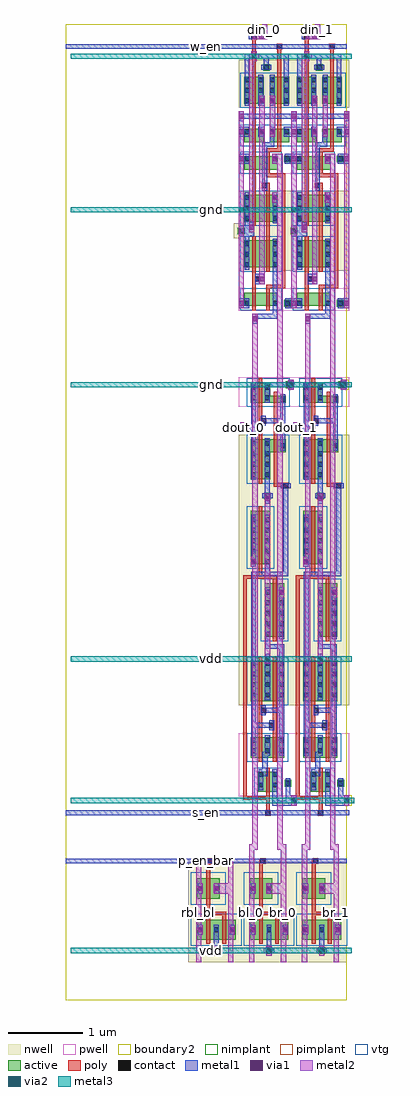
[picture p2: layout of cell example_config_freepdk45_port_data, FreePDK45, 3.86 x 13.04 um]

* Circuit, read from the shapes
.subckt example_config_freepdk45_port_data bl_0 bl_1 br_0 br_1 din_0 din_1 dout_0 dout_1 gnd p_en_bar rbl_bl rbl_br s_en vdd w_en
M1 n1 n2 gnd gnd nfet w=0.18u l=0.05u
M2 n3 din_0 gnd gnd nfet w=0.18u l=0.05u
M3 n2 din_0 gnd gnd nfet w=0.18u l=0.05u
M4 n4 n5 n6 gnd nfet w=0.27u l=0.05u
M5 gnd n7 dout_0 gnd nfet w=0.27u l=0.05u
M6 gnd s_en n4 gnd nfet w=0.27u l=0.05u
M7 bl_0 w_en n1 gnd nfet w=0.18u l=0.05u
M8 br_0 w_en n3 gnd nfet w=0.18u l=0.05u
M9 n5 n6 n4 gnd nfet w=0.27u l=0.05u
M10 n7 n6 gnd gnd nfet w=0.09u l=0.05u
M11 gnd w_en n8 gnd nfet w=0.18u l=0.05u
M12 n9 n10 gnd gnd nfet w=0.18u l=0.05u
M13 n11 din_1 gnd gnd nfet w=0.18u l=0.05u
M14 n10 din_1 gnd gnd nfet w=0.18u l=0.05u
M15 n12 n13 n14 gnd nfet w=0.27u l=0.05u
M16 gnd n15 dout_1 gnd nfet w=0.27u l=0.05u
M17 gnd s_en n12 gnd nfet w=0.27u l=0.05u
M18 bl_1 w_en n9 gnd nfet w=0.18u l=0.05u
M19 br_1 w_en n11 gnd nfet w=0.18u l=0.05u
M20 n13 n14 n12 gnd nfet w=0.27u l=0.05u
M21 n15 n14 gnd gnd nfet w=0.09u l=0.05u
M22 gnd w_en n16 gnd nfet w=0.18u l=0.05u
M23 vdd p_en_bar rbl_bl vdd pfet w=0.27u l=0.05u
M24 rbl_br p_en_bar rbl_bl vdd pfet w=0.27u l=0.05u
M25 rbl_br p_en_bar vdd vdd pfet w=0.27u l=0.05u
M26 n17 n2 vdd vdd pfet w=0.36u l=0.05u
M27 n18 din_0 vdd vdd pfet w=0.36u l=0.05u
M28 n2 din_0 vdd vdd pfet w=0.36u l=0.05u
M29 vdd n5 n6 vdd pfet w=0.54u l=0.05u
M30 n6 s_en bl_0 vdd pfet w=0.72u l=0.05u
M31 vdd n7 dout_0 vdd pfet w=0.54u l=0.05u
M32 vdd p_en_bar bl_0 vdd pfet w=0.27u l=0.05u
M33 br_0 p_en_bar bl_0 vdd pfet w=0.27u l=0.05u
M34 bl_0 n8 n17 vdd pfet w=0.36u l=0.05u
M35 br_0 n8 n18 vdd pfet w=0.36u l=0.05u
M36 n5 n6 vdd vdd pfet w=0.54u l=0.05u
M37 br_0 s_en n5 vdd pfet w=0.72u l=0.05u
M38 n7 n6 vdd vdd pfet w=0.18u l=0.05u
M39 br_0 p_en_bar vdd vdd pfet w=0.27u l=0.05u
M40 vdd w_en n8 vdd pfet w=0.36u l=0.05u
M41 n19 n10 vdd vdd pfet w=0.36u l=0.05u
M42 n20 din_1 vdd vdd pfet w=0.36u l=0.05u
M43 n10 din_1 vdd vdd pfet w=0.36u l=0.05u
M44 vdd n13 n14 vdd pfet w=0.54u l=0.05u
M45 n14 s_en bl_1 vdd pfet w=0.72u l=0.05u
M46 vdd n15 dout_1 vdd pfet w=0.54u l=0.05u
M47 vdd p_en_bar bl_1 vdd pfet w=0.27u l=0.05u
M48 br_1 p_en_bar bl_1 vdd pfet w=0.27u l=0.05u
M49 bl_1 n16 n19 vdd pfet w=0.36u l=0.05u
M50 br_1 n16 n20 vdd pfet w=0.36u l=0.05u
M51 n13 n14 vdd vdd pfet w=0.54u l=0.05u
M52 br_1 s_en n13 vdd pfet w=0.72u l=0.05u
M53 n15 n14 vdd vdd pfet w=0.18u l=0.05u
M54 br_1 p_en_bar vdd vdd pfet w=0.27u l=0.05u
M55 vdd w_en n16 vdd pfet w=0.36u l=0.05u
.ends

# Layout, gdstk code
import gdstk
lib = gdstk.Library(unit=1e-6, precision=5e-10)
def R(c, l, rs):  # rectangles x0, y0, x1, y1
    for r in rs: c.add(gdstk.rectangle(r[:2], r[2:], *l))
def A(c, l, x, y, w, h, nx, ny, dx, dy):  # array of equal rectangles
    R(c, l, [(x+i*dx, y+j*dy, x+i*dx+w, y+j*dy+h) for i in range(nx) for j in range(ny)])
def P(c, l, *ps):  # polygons
    for p in ps: c.add(gdstk.Polygon(p, *l))
active = (1, 0)
pwell = (2, 0)
nwell = (3, 0)
nimplant = (4, 0)
pimplant = (5, 0)
vtg = (6, 0)
poly = (9, 0)
contact = (10, 0)
metal1 = (11, 0)
via1 = (12, 0)
metal2 = (13, 0)
via2 = (14, 0)
metal3 = (15, 0)
boundary2 = (239, 0)

example_config_freepdk45 = lib.new_cell('example_config_freepdk45_contact_11')
R(example_config_freepdk45, active, [(0,0.0225,0.09,0.1125)])
R(example_config_freepdk45, nwell, [(-0.055,-0.0325,0.145,0.1675)])
R(example_config_freepdk45, pimplant, [(0,0.0225,0.09,0.1125)])
R(example_config_freepdk45, contact, [(0.0125,0.035,0.0775,0.1)])
R(example_config_freepdk45, metal1, [(0.0125,0,0.0775,0.135)])
R(example_config_freepdk45, boundary2, [(-0.055,-0.0325,0.145,0.1675)])

c_example_config_freepdk45 = lib.new_cell('example_config_freepdk45_pmos_m1_w0_270_sm1_dm1')
R(c_example_config_freepdk45, active, [(0,0,0.305,0.27)])
R(c_example_config_freepdk45, nwell, [(-0.08,-0.08,0.385,0.35)])
R(c_example_config_freepdk45, pimplant, [(0,0,0.305,0.27)])
R(c_example_config_freepdk45, vtg, [(-0.08,-0.08,0.385,0.35)])
R(c_example_config_freepdk45, poly, [(0.1275,-0.055,0.1775,0.325), (0.1275,-0.055,0.1775,0.325)])
R(c_example_config_freepdk45, metal1, [(0.0125,0.0675,0.0775,0.2025), (0.2275,0.0675,0.2925,0.2025)])
R(c_example_config_freepdk45, boundary2, [(-0.08,-0.08,0.385,0.35)])
c_example_config_freepdk45.add(gdstk.Reference(example_config_freepdk45, (0,0.0675)))
c_example_config_freepdk45.add(gdstk.Reference(example_config_freepdk45, (0.215,0.0675)))
c_example_config_freepdk45.add(gdstk.Label('G', (0.1525,0.135), layer=9, texttype=0))
c_example_config_freepdk45.add(gdstk.Label('S', (0.045,0.135), layer=11, texttype=0))
c_example_config_freepdk45.add(gdstk.Label('D', (0.26,0.135), layer=11, texttype=0))

c_example_config_freepdk45_ = lib.new_cell('example_config_freepdk45_contact_14')
R(c_example_config_freepdk45_, poly, [(0.03,0,0.105,0.075)])
R(c_example_config_freepdk45_, contact, [(0.035,0.005,0.1,0.07)])
R(c_example_config_freepdk45_, metal1, [(0,0.005,0.135,0.07)])
R(c_example_config_freepdk45_, boundary2, [(0,0,0.135,0.075)])

c_example_config_freepdk45__ = lib.new_cell('example_config_freepdk45_contact_22')
R(c_example_config_freepdk45__, active, [(0.0225,0,0.1125,0.09)])
R(c_example_config_freepdk45__, nwell, [(-0.0325,-0.055,0.1675,0.145)])
R(c_example_config_freepdk45__, nimplant, [(0.0225,0,0.1125,0.09)])
R(c_example_config_freepdk45__, contact, [(0.035,0.0125,0.1,0.0775)])
R(c_example_config_freepdk45__, metal1, [(0,0.0125,0.135,0.0775)])
R(c_example_config_freepdk45__, boundary2, [(-0.0325,-0.055,0.1675,0.145)])

c_example_config_freepdk45___ = lib.new_cell('example_config_freepdk45_contact_17')
R(c_example_config_freepdk45___, metal1, [(0,0.035,0.135,0.1)])
R(c_example_config_freepdk45___, via1, [(0.035,0.035,0.1,0.1)])
R(c_example_config_freepdk45___, metal2, [(0.0325,0,0.1025,0.135)])
R(c_example_config_freepdk45___, boundary2, [(0,0,0.135,0.135)])

c_example_config_freepdk45____ = lib.new_cell('example_config_freepdk45_contact_23')
R(c_example_config_freepdk45____, metal1, [(0.0025,0,0.0675,0.135)])
R(c_example_config_freepdk45____, via1, [(0.0025,0.035,0.0675,0.1)])
R(c_example_config_freepdk45____, metal2, [(0,0,0.07,0.135)])
R(c_example_config_freepdk45____, boundary2, [(0,0,0.07,0.135)])

c_example_config_freepdk45_____ = lib.new_cell('example_config_freepdk45_precharge_0')
R(c_example_config_freepdk45_____, nwell, [(0,0,0.705,1.34)])
R(c_example_config_freepdk45_____, poly, [(0.24,-0.0375,0.29,0.0125), (0.265,-0.0375,0.29,0.0125), (0.24,-0.0125,0.29,0.165), (0.24,0.545,0.29,0.715), (0.24,0.665,0.505,0.715)])
R(c_example_config_freepdk45_____, metal1, [(0,-0.045,0.705,0.02), (0.34,0.905,0.405,1.185), (0.34,1.1525,0.405,1.2175)])
R(c_example_config_freepdk45_____, metal2, [(0.105,0,0.175,1.34), (0.105,0,0.175,1.34), (0.53,0,0.6,1.34), (0.53,0,0.6,1.34), (0.14,0.2875,0.1575,0.4225), (0.3725,0.2875,0.565,0.4225), (0.14,0.8375,0.1575,0.9725), (0.565,0.8375,0.5875,0.9725)])
R(c_example_config_freepdk45_____, boundary2, [(0,0,0.705,1.34)])
c_example_config_freepdk45_____.add(gdstk.Reference(c_example_config_freepdk45, (0.1125,0.22)))
c_example_config_freepdk45_____.add(gdstk.Reference(c_example_config_freepdk45, (0.1125,0.77)))
c_example_config_freepdk45_____.add(gdstk.Reference(c_example_config_freepdk45, (0.3275,0.77)))
c_example_config_freepdk45_____.add(gdstk.Reference(c_example_config_freepdk45_, (0.2225,-0.05)))
c_example_config_freepdk45_____.add(gdstk.Reference(c_example_config_freepdk45__, (0.305,1.14)))
c_example_config_freepdk45_____.add(gdstk.Reference(c_example_config_freepdk45___, (0.305,1.1175)))
c_example_config_freepdk45_____.add(gdstk.Reference(c_example_config_freepdk45____, (0.1225,0.2875)))
c_example_config_freepdk45_____.add(gdstk.Reference(c_example_config_freepdk45____, (0.3375,0.2875)))
c_example_config_freepdk45_____.add(gdstk.Reference(c_example_config_freepdk45____, (0.1225,0.8375)))
c_example_config_freepdk45_____.add(gdstk.Reference(c_example_config_freepdk45____, (0.5525,0.8375)))
c_example_config_freepdk45_____.add(gdstk.Label('en_bar', (0.3525,-0.0125), layer=11, texttype=0))
c_example_config_freepdk45_____.add(gdstk.Label('vdd', (0.3725,1.185), layer=11, texttype=0))
c_example_config_freepdk45_____.add(gdstk.Label('bl', (0.14,0.67), layer=13, texttype=0))
c_example_config_freepdk45_____.add(gdstk.Label('br', (0.565,0.67), layer=13, texttype=0))

c_example_config_freepdk45______ = lib.new_cell('example_config_freepdk45_contact_18')
R(c_example_config_freepdk45______, metal2, [(0.0325,0,0.1025,0.135)])
R(c_example_config_freepdk45______, via2, [(0.035,0.035,0.1,0.1)])
R(c_example_config_freepdk45______, metal3, [(0,0.0325,0.135,0.1025)])
R(c_example_config_freepdk45______, boundary2, [(0,0,0.135,0.135)])

c_example_config_freepdk45_______ = lib.new_cell('example_config_freepdk45_precharge_array')
R(c_example_config_freepdk45_______, metal1, [(0,-0.045,3.755,0.02), (1.96,-0.045,2.025,0.02), (1.96,-0.045,2.025,0.02), (2.665,-0.045,2.73,0.02), (2.665,-0.045,2.73,0.02), (3.37,-0.045,3.435,0.02), (3.37,-0.045,3.435,0.02)])
R(c_example_config_freepdk45_______, metal2, [(1.745,0,1.815,1.34), (2.17,0,2.24,1.34), (2.45,0,2.52,1.34), (2.875,0,2.945,1.34), (3.155,0,3.225,1.34), (3.58,0,3.65,1.34)])
R(c_example_config_freepdk45_______, metal3, [(0.0675,1.15,3.8225,1.22)])
R(c_example_config_freepdk45_______, boundary2, [(0,0,3.755,1.34)])
c_example_config_freepdk45_______.add(gdstk.Reference(c_example_config_freepdk45_____, (1.64,0)))
c_example_config_freepdk45_______.add(gdstk.Reference(c_example_config_freepdk45_____, (2.345,0)))
c_example_config_freepdk45_______.add(gdstk.Reference(c_example_config_freepdk45_____, (3.05,0)))
c_example_config_freepdk45_______.add(gdstk.Reference(c_example_config_freepdk45___, (1.945,1.1175)))
c_example_config_freepdk45_______.add(gdstk.Reference(c_example_config_freepdk45______, (1.945,1.1175)))
c_example_config_freepdk45_______.add(gdstk.Reference(c_example_config_freepdk45___, (2.65,1.1175)))
c_example_config_freepdk45_______.add(gdstk.Reference(c_example_config_freepdk45______, (2.65,1.1175)))
c_example_config_freepdk45_______.add(gdstk.Reference(c_example_config_freepdk45___, (3.355,1.1175)))
c_example_config_freepdk45_______.add(gdstk.Reference(c_example_config_freepdk45______, (3.355,1.1175)))
c_example_config_freepdk45_______.add(gdstk.Label('en_bar', (1.8775,-0.0125), layer=11, texttype=0))
c_example_config_freepdk45_______.add(gdstk.Label('bl_0', (1.78,0.67), layer=13, texttype=0))
c_example_config_freepdk45_______.add(gdstk.Label('br_0', (2.205,0.67), layer=13, texttype=0))
c_example_config_freepdk45_______.add(gdstk.Label('bl_1', (2.485,0.67), layer=13, texttype=0))
c_example_config_freepdk45_______.add(gdstk.Label('br_1', (2.91,0.67), layer=13, texttype=0))
c_example_config_freepdk45_______.add(gdstk.Label('bl_2', (3.19,0.67), layer=13, texttype=0))
c_example_config_freepdk45_______.add(gdstk.Label('br_2', (3.615,0.67), layer=13, texttype=0))
c_example_config_freepdk45_______.add(gdstk.Label('vdd', (1.945,1.185), layer=15, texttype=0))

sense_amp = lib.new_cell('sense_amp')
R(sense_amp, active, [(0.595,0.095,0.685,0.185), (0.3075,1.58,0.3975,1.67), (0.1275,1.82,0.3875,2.54), (0.1275,1.82,0.2025,2.54), (0.1275,1.82,0.2025,2.54), (0.3125,1.82,0.3875,2.54), (0.3125,1.82,0.3875,2.54), (0.1275,1.905,0.2025,2.54), (0.3125,1.905,0.3875,2.54), (0.3175,2.79,0.5775,3.51), (0.3175,2.79,0.3925,3.51), (0.3175,2.79,0.3925,3.51), (0.5025,2.79,0.5775,3.51), (0.5025,2.79,0.5775,3.51), (0.3175,2.875,0.3925,3.51), (0.5025,2.875,0.5775,3.51), (0.1275,3.8275,0.2025,4.3225), (0.1275,3.8275,0.3875,4.3675), (0.1275,3.8275,0.2025,4.3675), (0.1275,3.8275,0.2025,4.3675), (0.3125,3.8275,0.3875,4.3225), (0.3125,3.8275,0.3875,4.3675), (0.3125,3.8275,0.3875,4.3675), (0.3175,3.8275,0.3925,4.3225), (0.3175,3.8275,0.5775,4.3675), (0.3175,3.8275,0.3925,4.3675), (0.3175,3.8275,0.3925,4.3675), (0.5025,3.8275,0.5775,4.3225), (0.5025,3.8275,0.5775,4.3675), (0.5025,3.8275,0.5775,4.3675), (0.1275,4.8525,0.2025,5.0675), (0.1275,4.8525,0.3875,5.1225), (0.1275,4.8525,0.2025,5.1225), (0.1275,4.8525,0.2025,5.1225), (0.3125,4.8525,0.3875,5.0675), (0.3125,4.8525,0.3875,5.1225), (0.3125,4.8525,0.3875,5.1225), (0.3175,4.8525,0.3925,5.0675), (0.3175,4.8525,0.5775,5.1225), (0.3175,4.8525,0.3925,5.1225), (0.3175,4.8525,0.3925,5.1225), (0.5025,4.8525,0.5775,5.0675), (0.5025,4.8525,0.5775,5.1225), (0.5025,4.8525,0.5775,5.1225), (0.2275,5.31,0.3025,5.525), (0.2275,5.31,0.4875,5.58), (0.2275,5.31,0.3025,5.58), (0.2275,5.31,0.3025,5.58), (0.4125,5.31,0.4875,5.525), (0.4125,5.31,0.4875,5.58), (0.4125,5.31,0.4875,5.58), (0.58,5.42,0.67,5.51)])
P(sense_amp, active, [(0.1275,0.11),(0.1275,0.38),(0.5925,0.38),(0.5925,0.29),(0.3875,0.29),(0.3875,0.11)],
  [(0.1275,0.865),(0.1275,1.405),(0.3875,1.405),(0.3875,1.045),(0.5925,1.045),(0.5925,0.865)])
R(sense_amp, pwell, [(-0.035,0.055,0.74,0.435), (-0.035,4.7975,0.74,5.635), (0.0725,4.7975,0.4425,5.1775), (0.2625,4.7975,0.6325,5.1775), (0.1725,5.255,0.5425,5.635), (0.525,5.365,0.725,5.565)])
P(sense_amp, pwell, [(-0.035,0.04),(-0.035,0.055),(0.595,0.055),(0.595,0.095),(0.685,0.095),(0.685,0.055),(0.74,0.055),(0.74,0.04)])
R(sense_amp, nwell, [(-0.035,0.81,0.74,4.4225), (0.0725,1.765,0.4425,2.595), (0.2625,2.735,0.6325,3.565), (0.0725,3.7725,0.4425,4.4225), (0.2625,3.7725,0.6325,4.4225)])
R(sense_amp, nimplant, [(0.3075,1.58,0.3975,1.67), (0.1275,4.8525,0.3875,5.1225), (0.3175,4.8525,0.5775,5.1225), (0.2275,5.31,0.4875,5.58)])
P(sense_amp, nimplant, [(0.1275,0.11),(0.1275,0.38),(0.5925,0.38),(0.5925,0.29),(0.3875,0.29),(0.3875,0.11)])
R(sense_amp, pimplant, [(0.595,0.095,0.685,0.185), (0.1275,1.82,0.3875,2.54), (0.3175,2.79,0.5775,3.51), (0.1275,3.8275,0.3875,4.3675), (0.3175,3.8275,0.5775,4.3675), (0.58,5.42,0.67,5.51)])
P(sense_amp, pimplant, [(0.1275,0.865),(0.1275,1.405),(0.3875,1.405),(0.3875,1.045),(0.5925,1.045),(0.5925,0.865)])
R(sense_amp, vtg, [(0.0725,0.055,0.6475,0.435), (0.0725,0.81,0.645,1.46), (0.0725,1.765,0.4425,2.595), (0.2625,2.735,0.6325,3.565), (0.0725,3.7725,0.4425,4.4225), (0.2625,3.7725,0.6325,4.4225), (0.0725,4.7975,0.4425,5.1775), (0.2625,4.7975,0.6325,5.1775), (0.1725,5.255,0.5425,5.635)])
R(sense_amp, poly, [(0.2325,0.055,0.2825,1.46), (0.2575,0.585,0.3325,0.66), (0.2325,1.765,0.2825,1.82), (0.2325,1.765,0.2825,2.595), (0.2325,2.54,0.2825,2.595), (0.2325,2.595,0.2825,2.685), (0.0275,2.685,0.4725,2.735), (0.0275,2.735,0.0775,5.635), (0.4225,2.735,0.4725,2.79), (0.4225,2.735,0.4725,3.565), (0.4225,3.51,0.4725,3.565), (0.2325,3.7725,0.2825,3.8275), (0.2325,3.7725,0.2825,4.4225), (0.4225,3.7725,0.4725,3.8275), (0.4225,3.7725,0.4725,4.4225), (0.2325,4.04,0.2825,4.7975), (0.4225,4.04,0.4725,4.7975), (0.2325,4.3675,0.2825,4.4225), (0.4225,4.3675,0.4725,4.4225), (0.2575,4.4525,0.3325,4.5275), (0.3725,4.6525,0.4475,4.7275), (0.2325,4.7975,0.2825,4.8525), (0.2325,4.7975,0.2825,5.1775), (0.4225,4.7975,0.4725,4.8525), (0.4225,4.7975,0.4725,5.1775), (0.2325,5.1225,0.2825,5.1775), (0.4225,5.1225,0.4725,5.1775), (0.3325,5.255,0.3825,5.31), (0.3325,5.255,0.3825,5.635), (0.3325,5.58,0.3825,5.635), (0.0275,5.635,0.3825,5.685), (0.3325,5.685,0.3825,5.89), (0.32,5.8225,0.395,5.8975)])
P(sense_amp, poly, [(0.4375,0.235),(0.4375,1.505),(0.56,1.505),(0.56,1.525),(0.635,1.525),(0.635,1.45),(0.4875,1.45),(0.4875,0.235)])
A(sense_amp, contact, 0.1325, 0.8875, 0.065, 0.065, 1, 4, 0, 0.14)
A(sense_amp, contact, 0.3175, 0.8875, 0.065, 0.065, 1, 4, 0, 0.14)
A(sense_amp, contact, 0.1325, 1.91, 0.065, 0.065, 1, 5, 0, 0.14)
A(sense_amp, contact, 0.3175, 1.91, 0.065, 0.065, 1, 5, 0, 0.14)
A(sense_amp, contact, 0.3225, 2.88, 0.065, 0.065, 1, 5, 0, 0.14)
A(sense_amp, contact, 0.5075, 2.88, 0.065, 0.065, 1, 5, 0, 0.14)
A(sense_amp, contact, 0.1325, 3.8325, 0.065, 0.065, 1, 4, 0, 0.14)
A(sense_amp, contact, 0.3225, 3.8325, 0.065, 0.065, 1, 4, 0, 0.14)
A(sense_amp, contact, 0.5075, 3.8325, 0.065, 0.065, 1, 4, 0, 0.14)
R(sense_amp, contact, [(0.61,0.1075,0.675,0.1725), (0.1325,0.1425,0.1975,0.2075), (0.3175,0.1425,0.3825,0.2075), (0.1325,0.2825,0.1975,0.3475), (0.3175,0.2825,0.3825,0.3475), (0.5225,0.3,0.5875,0.365), (0.2625,0.59,0.3275,0.655), (0.5225,0.92,0.5875,0.985), (0.565,1.455,0.63,1.52), (0.32,1.5925,0.385,1.6575), (0.2625,4.4575,0.3275,4.5225), (0.3775,4.6575,0.4425,4.7225), (0.1325,4.8575,0.1975,4.9225), (0.3225,4.8575,0.3875,4.9225), (0.5075,4.8575,0.5725,4.9225), (0.1325,4.9975,0.1975,5.0625), (0.3225,4.9975,0.3875,5.0625), (0.5075,4.9975,0.5725,5.0625), (0.2325,5.315,0.2975,5.38), (0.4175,5.315,0.4825,5.38), (0.5925,5.4325,0.6575,5.4975), (0.2325,5.455,0.2975,5.52), (0.4175,5.455,0.4825,5.52), (0.325,5.8275,0.39,5.8925)])
R(sense_amp, metal1, [(0.1325,0.1075,0.1975,1.4075), (0.3175,0.1075,0.3825,0.3825), (0.3825,0.1075,0.5675,0.1725), (0.5225,0.265,0.5875,0.3), (0.2625,0.555,0.3275,0.69), (-0.0025,0.64,0.0625,0.775), (-0.0075,0.67,0.0675,0.745), (0.0675,0.675,0.1325,0.74), (0.3175,0.8525,0.3825,0.8875), (0.3175,0.8875,0.3825,1.6575), (0.5225,0.985,0.5875,1.02), (0.53,1.455,0.665,1.52), (0.565,1.455,0.63,2.7), (0.285,1.5925,0.42,1.6575), (0.32,1.5925,0.385,1.7275), (0.1325,1.875,0.1975,2.57), (0.3175,1.875,0.3825,2.57), (0.1275,2.435,0.1925,2.57), (0.32,2.5025,0.385,2.7), (0.1325,2.635,0.63,2.7), (0.1325,2.7,0.1975,3.7975), (0.3225,2.845,0.3875,3.54), (0.5075,2.845,0.5725,3.54), (0.51,2.845,0.575,2.98), (0.3225,3.475,0.3875,3.67), (0.3225,3.605,0.5725,3.67), (0.5075,3.605,0.5725,3.8), (0.32,3.735,0.385,3.87), (0.1325,3.7975,0.1975,4.3525), (0.3175,3.7975,0.3825,4.3525), (0.3225,3.7975,0.3875,4.3525), (0.5075,3.7975,0.5725,4.3525), (0.1325,3.96,0.1975,4.8275), (0.5075,3.96,0.5725,4.8225), (0.2625,4.4225,0.3275,4.5575), (0.2825,4.4575,0.5725,4.5225), (0.3775,4.6225,0.4425,4.7575), (0.1325,4.6575,0.4225,4.7225), (0.1325,4.8225,0.1975,5.0975), (0.3175,4.8225,0.3825,5.0975), (0.3225,4.8225,0.3875,5.0975), (0.5075,4.8225,0.5725,5.0975), (0.2825,5.04,0.3525,5.3675), (0.2325,5.28,0.2975,5.555), (0.4175,5.28,0.4825,5.555), (0.5925,5.3975,0.6575,5.5325), (0.5925,5.5325,0.6575,5.7625), (0.4175,5.545,0.4825,5.6975), (0.6575,5.6275,0.6725,5.6975), (0.6725,5.6275,0.7375,5.7625), (0.4175,5.6975,0.74,5.7625), (-0.035,5.8275,0.74,5.8925), (-0.035,5.8275,0.74,5.8925), (0.23,5.8275,0.295,5.8925), (0.29,5.8275,0.425,5.8925)])
P(sense_amp, metal1, [(0.5225,0.3),(0.5225,0.59),(0.2625,0.59),(0.2625,0.655),(0.5225,0.655),(0.5225,0.985),(0.5875,0.985),(0.5875,0.3)],
  [(0.6325,0.0725),(0.6325,0.1075),(0.5675,0.1075),(0.5675,0.1725),(0.6325,0.1725),(0.6325,0.2075),(0.6975,0.2075),(0.6975,0.1725),(0.71,0.1725),(0.71,0.1075),(0.6975,0.1075),(0.6975,0.0725)],
  [(0,1.4525),(0,1.4525),(0,1.4525),(0,1.4525)])
R(sense_amp, via1, [(0.6325,0.1075,0.6975,0.1725), (-0.0025,0.675,0.0625,0.74), (0.32,1.6275,0.385,1.6925), (0.1275,2.47,0.1925,2.535), (0.51,2.88,0.575,2.945), (0.32,3.77,0.385,3.835), (0.6725,5.6625,0.7375,5.7275)])
R(sense_amp, metal2, [(0.15,0,0.22,6.01), (0.15,0,0.22,6.01), (0.485,0,0.555,6.01), (0.485,0,0.555,6.01), (0.6275,0.0725,0.7025,0.2075), (0.6275,0.0725,0.7025,0.2075), (0.6275,0.1025,0.7025,0.1775), (-0.01,0.64,0.0675,0.775), (-0.01,0.64,0.0675,0.775), (-0.0075,0.67,0.0675,0.745), (0.3175,1.5925,0.3875,1.7275), (0.3175,1.725,0.3875,3.735), (0.125,2.435,0.195,2.57), (0.5075,2.845,0.5775,2.98), (0.3175,3.735,0.3875,3.87), (0.3175,3.735,0.3875,3.87), (0.67,5.6275,0.74,5.7625), (0.67,5.6275,0.74,5.7625)])
R(sense_amp, boundary2, [(0,0,0.705,6.01)])
sense_amp.add(gdstk.Label('en', (0.258,5.86), layer=11, texttype=0))
sense_amp.add(gdstk.Label('dout', (0.0285,0.6925), layer=13, texttype=0))
sense_amp.add(gdstk.Label('gnd', (0.6555,0.1235), layer=13, texttype=0))
sense_amp.add(gdstk.Label('bl', (0.19,0.005), layer=13, texttype=0))
sense_amp.add(gdstk.Label('br', (0.52,0.0065), layer=13, texttype=0))
sense_amp.add(gdstk.Label('vdd', (0.3525,3.8), layer=13, texttype=0))
sense_amp.add(gdstk.Label('gnd', (0.7025,5.735), layer=13, texttype=0))
sense_amp.add(gdstk.Label('bl', (0.185,3.005), layer=13, texttype=0))
sense_amp.add(gdstk.Label('br', (0.52,3.005), layer=13, texttype=0))
sense_amp.add(gdstk.Label('dout', (0.029,0.7075), layer=13, texttype=0))
sense_amp.add(gdstk.Label('en', (0.3525,5.86), layer=11, texttype=0))
sense_amp.add(gdstk.Label('vdd', (0.3525,3.8025), layer=13, texttype=0))
sense_amp.add(gdstk.Label('gnd', (0.665,0.14), layer=13, texttype=0))
sense_amp.add(gdstk.Label('gnd', (0.705,5.695), layer=13, texttype=0))

c_example_config_freepdk45________ = lib.new_cell('example_config_freepdk45_sense_amp_array')
R(c_example_config_freepdk45________, metal1, [(0,5.8275,3.755,5.8925), (2.665,5.8275,2.73,5.8925), (3.37,5.8275,3.435,5.8925)])
R(c_example_config_freepdk45________, metal2, [(2.495,0,2.565,6.01), (2.83,0,2.9,6.01), (3.2,0,3.27,6.01), (3.535,0,3.605,6.01), (2.335,0.64,2.4125,0.775), (3.04,0.64,3.1175,0.775)])
R(c_example_config_freepdk45________, metal3, [(0.0675,0.105,3.8225,0.175), (0.0675,3.7675,3.8225,3.8375), (0.0675,5.66,3.8575,5.73)])
R(c_example_config_freepdk45________, boundary2, [(0,0,3.755,6.01)])
c_example_config_freepdk45________.add(gdstk.Reference(sense_amp, (2.345,0)))
c_example_config_freepdk45________.add(gdstk.Reference(sense_amp, (3.05,0)))
c_example_config_freepdk45________.add(gdstk.Reference(c_example_config_freepdk45______, (2.63,3.735)))
c_example_config_freepdk45________.add(gdstk.Reference(c_example_config_freepdk45______, (3.335,3.735)))
c_example_config_freepdk45________.add(gdstk.Reference(c_example_config_freepdk45______, (2.9425,0.0725)))
c_example_config_freepdk45________.add(gdstk.Reference(c_example_config_freepdk45______, (3.6475,0.0725)))
c_example_config_freepdk45________.add(gdstk.Reference(c_example_config_freepdk45______, (2.9825,5.6275)))
c_example_config_freepdk45________.add(gdstk.Reference(c_example_config_freepdk45______, (3.6875,5.6275)))
c_example_config_freepdk45________.add(gdstk.Label('bl_0', (2.53,3.005), layer=13, texttype=0))
c_example_config_freepdk45________.add(gdstk.Label('br_0', (2.865,3.005), layer=13, texttype=0))
c_example_config_freepdk45________.add(gdstk.Label('data_0', (2.374,0.7075), layer=13, texttype=0))
c_example_config_freepdk45________.add(gdstk.Label('bl_1', (3.235,3.005), layer=13, texttype=0))
c_example_config_freepdk45________.add(gdstk.Label('br_1', (3.57,3.005), layer=13, texttype=0))
c_example_config_freepdk45________.add(gdstk.Label('data_1', (3.079,0.7075), layer=13, texttype=0))
c_example_config_freepdk45________.add(gdstk.Label('vdd', (1.945,3.8025), layer=15, texttype=0))
c_example_config_freepdk45________.add(gdstk.Label('gnd', (1.9625,5.695), layer=15, texttype=0))
c_example_config_freepdk45________.add(gdstk.Label('gnd', (1.945,0.14), layer=15, texttype=0))
c_example_config_freepdk45________.add(gdstk.Label('en', (1.8775,5.86), layer=11, texttype=0))

write_driver = lib.new_cell('write_driver')
R(write_driver, active, [(0.2925,0.535,0.3825,0.625), (0.04,0.705,0.115,1.065), (0.04,0.705,0.115,1.065), (0.04,0.705,0.3,1.065), (0.225,0.705,0.3,1.065), (0.225,0.705,0.3,1.065), (0.38,0.705,0.455,1.065), (0.38,0.705,0.455,1.065), (0.38,0.705,0.64,1.065), (0.565,0.705,0.64,1.065), (0.565,0.705,0.64,1.065), (0.04,0.71,0.115,1.065), (0.225,0.71,0.3,1.065), (0.38,0.71,0.455,1.065), (0.565,0.71,0.64,1.065), (0.04,1.4,0.115,1.58), (0.04,1.4,0.115,1.58), (0.04,1.4,0.3,1.58), (0.04,1.4,0.115,1.475), (0.225,1.4,0.3,1.58), (0.225,1.4,0.3,1.58), (0.225,1.4,0.3,1.475), (0.38,1.4,0.455,1.58), (0.38,1.4,0.455,1.58), (0.38,1.4,0.64,1.58), (0.38,1.4,0.455,1.475), (0.565,1.4,0.64,1.58), (0.565,1.4,0.64,1.58), (0.565,1.4,0.64,1.475), (0.5725,1.7575,0.6625,1.8475), (0.04,1.765,0.115,1.945), (0.04,1.765,0.115,1.945), (0.04,1.765,0.115,1.84), (0.04,1.765,0.49,1.945), (0.1975,1.765,0.3375,1.945), (0.415,1.765,0.49,1.945), (0.415,1.765,0.49,1.945), (0.415,1.765,0.49,1.84), (0.04,2.28,0.115,2.64), (0.04,2.28,0.115,2.64), (0.04,2.28,0.115,2.635), (0.04,2.28,0.49,2.64), (0.1975,2.28,0.3375,2.64), (0.415,2.28,0.49,2.64), (0.415,2.28,0.49,2.64), (0.415,2.28,0.49,2.635), (-0.045,2.72,0.045,2.81), (0.04,2.8925,0.115,3.2525), (0.04,2.8925,0.115,3.2525), (0.04,2.8925,0.49,3.2525), (0.1925,2.8925,0.3325,3.2525), (0.415,2.8925,0.49,3.2525), (0.415,2.8925,0.49,3.2525), (0.04,2.8975,0.115,3.2525), (0.415,2.8975,0.49,3.2525), (0.04,3.5875,0.115,3.7675), (0.04,3.5875,0.115,3.7675), (0.04,3.5875,0.49,3.7675), (0.1925,3.5875,0.3325,3.7675), (0.415,3.5875,0.49,3.7675), (0.415,3.5875,0.49,3.7675), (0.575,3.685,0.665,3.775), (0.04,3.6925,0.115,3.7675), (0.415,3.6925,0.49,3.7675)])
R(write_driver, pwell, [(-0.035,1.345,0.74,2), (-0.015,1.345,0.355,1.635), (0.325,1.345,0.695,1.635), (0.5175,1.7025,0.7175,1.9025), (-0.015,1.71,0.545,2), (-0.035,3.5325,0.74,3.83), (-0.015,3.5325,0.545,3.8225), (0.52,3.63,0.72,3.83)])
R(write_driver, nwell, [(-0.035,0.48,0.74,1.12), (0.2375,0.48,0.4375,0.68), (-0.015,0.65,0.355,1.12), (0.325,0.65,0.695,1.12), (-0.035,2.225,0.74,3.3), (-0.015,2.225,0.545,2.695), (-0.1,2.665,0.1,2.865), (-0.015,2.8375,0.545,3.3075)])
R(write_driver, nimplant, [(0.2925,0.535,0.3825,0.625), (0.04,1.4,0.3,1.58), (0.38,1.4,0.64,1.58), (0.04,1.765,0.49,1.945), (-0.045,2.72,0.045,2.81), (0.04,3.5875,0.49,3.7675)])
R(write_driver, pimplant, [(0.04,0.705,0.3,1.065), (0.38,0.705,0.64,1.065), (0.5725,1.7575,0.6625,1.8475), (0.04,2.28,0.49,2.64), (0.04,2.8925,0.49,3.2525), (0.575,3.685,0.665,3.775)])
R(write_driver, vtg, [(-0.015,0.65,0.355,1.12), (0.325,0.65,0.695,1.12), (-0.015,1.345,0.355,1.635), (0.325,1.345,0.695,1.635), (-0.015,1.71,0.545,2), (-0.015,2.225,0.545,2.695), (-0.015,2.8375,0.545,3.3075), (-0.015,3.5325,0.545,3.8225)])
R(write_driver, poly, [(0.1325,0.1325,0.2075,0.2075), (0.145,0.1375,0.195,0.65), (0.4725,0.2625,0.5475,0.3375), (0.485,0.2675,0.535,0.65), (0.145,0.65,0.195,0.705), (0.145,0.65,0.195,1.12), (0.485,0.65,0.535,0.705), (0.485,0.65,0.535,1.12), (0.145,1.065,0.195,1.12), (0.485,1.065,0.535,1.12), (0.145,1.12,0.195,1.345), (0.485,1.12,0.535,1.345), (0.145,1.345,0.195,1.635), (0.145,1.345,0.195,1.4), (0.485,1.345,0.535,1.635), (0.485,1.345,0.535,1.4), (0.145,1.58,0.195,1.635), (0.485,1.58,0.535,1.635), (0.145,1.635,0.195,1.71), (0.485,1.635,0.535,1.66), (0.335,1.66,0.535,1.71), (0.145,1.71,0.195,2), (0.145,1.71,0.195,1.765), (0.335,1.71,0.385,2), (0.335,1.71,0.385,1.765), (0.145,1.945,0.195,2), (0.335,1.945,0.385,2), (0.335,1.995,0.59,2.045), (0.54,1.995,0.59,3.4825), (0.145,2,0.195,2.225), (0.2775,2.12,0.3525,2.195), (0.335,2.12,0.385,2.225), (0.145,2.225,0.195,2.28), (0.145,2.225,0.195,2.695), (0.335,2.225,0.385,2.28), (0.335,2.225,0.385,2.695), (0.145,2.64,0.195,2.695), (0.335,2.64,0.385,2.695), (0.335,2.695,0.385,2.8375), (0.145,2.8375,0.195,2.8925), (0.145,2.8375,0.195,3.3075), (0.335,2.8375,0.385,2.8925), (0.335,2.8375,0.385,3.3075), (0.145,3.2525,0.195,3.3075), (0.335,3.2525,0.385,3.3075), (0.145,3.3075,0.195,3.5325), (0.18,3.37,0.255,3.445), (0.335,3.4825,0.59,3.5325), (0.145,3.5325,0.195,3.8225), (0.145,3.5325,0.195,3.5875), (0.335,3.5325,0.385,3.8225), (0.335,3.5325,0.385,3.5875), (0.145,3.7675,0.195,3.8225), (0.335,3.7675,0.385,3.8225)])
A(write_driver, contact, 0.045, 0.715, 0.065, 0.065, 1, 3, 0, 0.14)
A(write_driver, contact, 0.23, 0.715, 0.065, 0.065, 1, 3, 0, 0.14)
A(write_driver, contact, 0.385, 0.715, 0.065, 0.065, 1, 3, 0, 0.14)
A(write_driver, contact, 0.57, 0.715, 0.065, 0.065, 1, 3, 0, 0.14)
A(write_driver, contact, 0.045, 2.285, 0.065, 0.065, 1, 3, 0, 0.14)
A(write_driver, contact, 0.42, 2.285, 0.065, 0.065, 1, 3, 0, 0.14)
A(write_driver, contact, 0.045, 2.9025, 0.065, 0.065, 1, 3, 0, 0.14)
A(write_driver, contact, 0.42, 2.9025, 0.065, 0.065, 1, 3, 0, 0.14)
R(write_driver, contact, [(0.1375,0.1375,0.2025,0.2025), (0.4775,0.2675,0.5425,0.3325), (0.305,0.5475,0.37,0.6125), (0.045,1.405,0.11,1.47), (0.23,1.405,0.295,1.47), (0.385,1.405,0.45,1.47), (0.57,1.405,0.635,1.47), (0.045,1.77,0.11,1.835), (0.42,1.77,0.485,1.835), (0.585,1.77,0.65,1.835), (0.2825,2.125,0.3475,2.19), (-0.0325,2.7325,0.0325,2.7975), (0.185,3.375,0.25,3.44), (0.045,3.6975,0.11,3.7625), (0.42,3.6975,0.485,3.7625), (0.5875,3.6975,0.6525,3.7625)])
R(write_driver, metal1, [(0.2075,0.135,0.3425,0.2), (0.1025,0.1375,0.2375,0.2025), (0.045,0.2675,0.635,0.3325), (0.045,0.2675,0.635,0.3325), (0.045,0.3975,0.635,0.4625), (0.105,0.3975,0.24,0.4625), (0.045,0.4625,0.11,0.68), (0.3025,0.4625,0.3675,0.6125), (0.57,0.4625,0.635,0.68), (0.27,0.5475,0.405,0.6125), (0.045,0.68,0.11,1.095), (0.23,0.68,0.295,1.095), (0.385,0.68,0.45,1.095), (0.57,0.68,0.635,1.095), (0.2475,0.96,0.3125,1.095), (0.3875,0.96,0.4525,1.095), (-0.0325,1.165,0.0325,1.3), (0.6725,1.165,0.7375,1.3), (-0.035,1.2,0.74,1.265), (-0.0325,1.37,0.0325,1.505), (0.0275,1.37,0.04,1.505), (0.035,1.37,0.045,1.505), (0.045,1.37,0.11,1.505), (0.23,1.37,0.295,1.505), (0.2475,1.37,0.3125,1.505), (0.385,1.37,0.45,1.505), (0.3875,1.37,0.4525,1.505), (0.57,1.37,0.635,1.505), (0.63,1.37,0.6725,1.505), (0.6725,1.37,0.7375,1.505), (0.38,1.4525,0.445,1.5775), (0.2825,1.5775,0.3475,2.175), (0.2825,1.5775,0.445,1.6425), (-0.0325,1.735,0.0325,1.87), (0.0275,1.735,0.04,1.87), (0.035,1.735,0.045,1.87), (0.045,1.735,0.11,1.87), (0.4175,1.735,0.4825,1.87), (0.42,1.735,0.485,1.87), (0.585,1.735,0.65,1.87), (0.65,1.735,0.6725,1.87), (0.6725,1.735,0.7375,1.87), (0.2825,2.09,0.3475,2.225), (0.045,2.25,0.11,2.665), (0.4175,2.25,0.4825,2.385), (0.42,2.25,0.485,2.665), (0.095,2.65,0.11,2.785), (0.1075,2.65,0.1725,2.785), (0.045,2.665,0.11,2.8675), (-0.0325,2.6975,0.0325,2.8325), (0.0325,2.6975,0.175,2.8325), (0.045,2.8675,0.11,3.2825), (0.42,2.8675,0.485,3.2825), (0.42,3.2825,0.485,3.6625), (0.185,3.34,0.25,3.475), (0.2475,3.34,0.3125,3.475), (-0.0325,3.6625,0.0325,3.7975), (0.0275,3.6625,0.04,3.7975), (0.035,3.6625,0.045,3.7975), (0.045,3.6625,0.11,3.7975), (0.42,3.6625,0.485,3.7975), (0.5875,3.6625,0.6525,3.7975), (0.6525,3.6625,0.6725,3.7975), (0.6725,3.6625,0.7375,3.7975), (0.42,3.7975,0.485,3.8725), (0.15,3.8725,0.485,3.9375), (0.1525,3.8725,0.2175,4.0075)])
R(write_driver, via1, [(0.2425,0.135,0.3075,0.2), (0.14,0.3975,0.205,0.4625), (0.2475,0.995,0.3125,1.06), (0.3875,0.995,0.4525,1.06), (-0.0325,1.2,0.0325,1.265), (0.6725,1.2,0.7375,1.265), (-0.0325,1.405,0.0325,1.47), (0.2475,1.405,0.3125,1.47), (0.3875,1.405,0.4525,1.47), (0.6725,1.405,0.7375,1.47), (-0.0325,1.77,0.0325,1.835), (0.4175,1.77,0.4825,1.835), (0.6725,1.77,0.7375,1.835), (0.4175,2.285,0.4825,2.35), (0.1075,2.685,0.1725,2.75), (0.2475,3.375,0.3125,3.44), (-0.0325,3.6975,0.0325,3.7625), (0.6725,3.6975,0.7375,3.7625), (0.1525,3.9075,0.2175,3.9725)])
R(write_driver, metal2, [(0.28,0,0.35,0.14), (0.28,0,0.35,0.14), (0.1575,0.1325,0.35,0.2025), (0.2075,0.1325,0.3425,0.2025), (0.105,0.395,0.24,0.465), (0.105,0.395,0.24,0.465), (0.105,0.465,0.175,2.785), (0.245,0.96,0.315,1.095), (0.385,0.96,0.455,1.095), (0.245,1.095,0.315,1.37), (0.385,1.095,0.455,1.37), (-0.035,1.1625,0.035,3.7975), (-0.035,1.1625,0.035,3.7975), (-0.035,1.165,0.035,1.3), (0.67,1.165,0.74,3.7975), (0.67,1.165,0.74,1.3), (-0.035,1.37,0.035,1.505), (0.245,1.37,0.315,3.4675), (0.245,1.37,0.315,1.505), (0.385,1.37,0.455,1.505), (0.67,1.37,0.74,1.505), (-0.035,1.735,0.035,1.87), (0.415,1.735,0.485,1.87), (0.485,1.735,0.555,4.175), (0.485,1.735,0.555,4.175), (0.67,1.735,0.74,1.87), (0.415,2.25,0.485,2.385), (0.105,2.65,0.175,2.785), (0.245,3.34,0.315,3.475), (-0.035,3.6625,0.035,3.7975), (0.67,3.6625,0.74,3.7975), (0.15,3.8725,0.22,4.0075), (0.15,3.875,0.22,4.175), (0.15,3.875,0.22,4.175)])
R(write_driver, boundary2, [(0,0,0.705,4.175)])
write_driver.add(gdstk.Label('en', (0.3325,0.3), layer=11, texttype=0))
write_driver.add(gdstk.Label('din', (0.32,0.035), layer=13, texttype=0))
write_driver.add(gdstk.Label('vdd', (0.1725,0.4325), layer=13, texttype=0))
write_driver.add(gdstk.Label('br', (0.52,4.15), layer=13, texttype=0))
write_driver.add(gdstk.Label('bl', (0.19,4.138), layer=13, texttype=0))
write_driver.add(gdstk.Label('gnd', (-0.005,1.57), layer=13, texttype=0))
write_driver.add(gdstk.Label('din', (0.315,0.07), layer=13, texttype=0))
write_driver.add(gdstk.Label('bl', (0.185,4.025), layer=13, texttype=0))
write_driver.add(gdstk.Label('br', (0.52,2.955), layer=13, texttype=0))
write_driver.add(gdstk.Label('en', (0.34,0.3), layer=11, texttype=0))
write_driver.add(gdstk.Label('vdd', (0.1725,0.43), layer=13, texttype=0))
write_driver.add(gdstk.Label('gnd', (0,2.48), layer=13, texttype=0))

c_example_config_freepdk45_________ = lib.new_cell('example_config_freepdk45_write_driver_array')
R(c_example_config_freepdk45_________, metal1, [(0,0.2675,3.755,0.3325)])
R(c_example_config_freepdk45_________, metal2, [(2.625,0,2.695,0.14), (3.33,0,3.4,0.14), (2.83,1.735,2.9,4.175), (3.535,1.735,3.605,4.175), (2.495,3.875,2.565,4.175), (3.2,3.875,3.27,4.175)])
R(c_example_config_freepdk45_________, metal3, [(0.0675,0.395,3.8225,0.465), (0.0675,2.445,3.8225,2.515)])
R(c_example_config_freepdk45_________, boundary2, [(0,0,3.755,4.175)])
c_example_config_freepdk45_________.add(gdstk.Reference(write_driver, (2.345,0)))
c_example_config_freepdk45_________.add(gdstk.Reference(write_driver, (3.05,0)))
c_example_config_freepdk45_________.add(gdstk.Reference(c_example_config_freepdk45______, (2.45,0.3625)))
c_example_config_freepdk45_________.add(gdstk.Reference(c_example_config_freepdk45______, (3.155,0.3625)))
c_example_config_freepdk45_________.add(gdstk.Reference(c_example_config_freepdk45______, (2.2775,2.4125)))
c_example_config_freepdk45_________.add(gdstk.Reference(c_example_config_freepdk45______, (2.9825,2.4125)))
c_example_config_freepdk45_________.add(gdstk.Label('data_0', (2.66,0.07), layer=13, texttype=0))
c_example_config_freepdk45_________.add(gdstk.Label('bl_0', (2.53,4.025), layer=13, texttype=0))
c_example_config_freepdk45_________.add(gdstk.Label('br_0', (2.865,2.955), layer=13, texttype=0))
c_example_config_freepdk45_________.add(gdstk.Label('data_1', (3.365,0.07), layer=13, texttype=0))
c_example_config_freepdk45_________.add(gdstk.Label('bl_1', (3.235,4.025), layer=13, texttype=0))
c_example_config_freepdk45_________.add(gdstk.Label('br_1', (3.57,2.955), layer=13, texttype=0))
c_example_config_freepdk45_________.add(gdstk.Label('en', (1.8775,0.3), layer=11, texttype=0))
c_example_config_freepdk45_________.add(gdstk.Label('vdd', (1.945,0.43), layer=15, texttype=0))
c_example_config_freepdk45_________.add(gdstk.Label('gnd', (1.945,2.48), layer=15, texttype=0))

c_example_config_freepdk45__________ = lib.new_cell('example_config_freepdk45_port_data')
R(c_example_config_freepdk45__________, metal1, [(0,1.825,3.755,1.89), (0,2.4675,3.755,2.5325), (0,12.7075,3.755,12.7725)])
R(c_example_config_freepdk45__________, metal2, [(1.745,0.505,1.815,1.845), (2.17,0.505,2.24,1.845), (2.45,0.505,2.52,1.845), (2.875,0.505,2.945,1.845), (3.155,0.505,3.225,1.845), (3.58,0.505,3.65,1.845), (2.45,1.81,2.52,1.88), (2.875,1.81,2.945,1.88), (3.155,1.81,3.225,1.88), (3.58,1.81,3.65,1.88), (2.45,1.845,2.52,2.045), (2.45,1.845,2.52,2.045), (2.875,1.845,2.945,2.045), (2.875,1.845,2.945,2.045), (3.155,1.845,3.225,2.045), (3.155,1.845,3.225,2.045), (3.58,1.845,3.65,2.045), (3.58,1.845,3.65,2.045), (2.45,2.01,2.565,2.08), (2.83,2.01,2.945,2.08), (3.155,2.01,3.27,2.08), (3.535,2.01,3.65,2.08), (2.495,2.045,2.565,2.35), (2.495,2.045,2.565,2.35), (2.83,2.045,2.9,2.35), (2.83,2.045,2.9,2.35), (3.2,2.045,3.27,2.35), (3.2,2.045,3.27,2.35), (3.535,2.045,3.605,2.35), (3.535,2.045,3.605,2.35), (2.495,2.315,2.565,2.385), (2.83,2.315,2.9,2.385), (3.2,2.315,3.27,2.385), (3.535,2.315,3.605,2.385), (2.335,7.585,2.4125,7.72), (3.04,7.585,3.1175,7.72), (2.495,8.36,2.565,8.725), (2.83,8.36,2.9,8.585), (3.2,8.36,3.27,8.725), (3.535,8.36,3.605,8.585), (2.83,8.585,2.9,8.865), (3.535,8.585,3.605,8.865), (2.495,8.725,2.565,8.865), (3.2,8.725,3.27,8.865), (2.625,12.9,2.695,13.04), (3.33,12.9,3.4,13.04)])
R(c_example_config_freepdk45__________, metal3, [(0.0675,0.625,3.8225,0.695), (0.0675,2.63,3.8575,2.7), (0.0675,4.5225,3.8225,4.5925), (0.0675,8.185,3.8225,8.255), (0.0675,10.525,3.8225,10.595), (0.0675,12.575,3.8225,12.645)])
R(c_example_config_freepdk45__________, boundary2, [(0,0,3.755,13.04)])
c_example_config_freepdk45__________.add(gdstk.Reference(c_example_config_freepdk45_______, (0,1.845), x_reflection=True))
c_example_config_freepdk45__________.add(gdstk.Reference(c_example_config_freepdk45________, (0,8.36), x_reflection=True))
c_example_config_freepdk45__________.add(gdstk.Reference(c_example_config_freepdk45_________, (0,13.04), x_reflection=True))
c_example_config_freepdk45__________.add(gdstk.Label('din_0', (2.66,12.97), layer=13, texttype=0))
c_example_config_freepdk45__________.add(gdstk.Label('din_1', (3.365,12.97), layer=13, texttype=0))
c_example_config_freepdk45__________.add(gdstk.Label('dout_0', (2.374,7.6525), layer=13, texttype=0))
c_example_config_freepdk45__________.add(gdstk.Label('dout_1', (3.079,7.6525), layer=13, texttype=0))
c_example_config_freepdk45__________.add(gdstk.Label('rbl_bl', (1.78,1.175), layer=13, texttype=0))
c_example_config_freepdk45__________.add(gdstk.Label('rbl_br', (2.205,1.175), layer=13, texttype=0))
c_example_config_freepdk45__________.add(gdstk.Label('bl_0', (2.485,1.175), layer=13, texttype=0))
c_example_config_freepdk45__________.add(gdstk.Label('br_0', (2.91,1.175), layer=13, texttype=0))
c_example_config_freepdk45__________.add(gdstk.Label('bl_1', (3.19,1.175), layer=13, texttype=0))
c_example_config_freepdk45__________.add(gdstk.Label('br_1', (3.615,1.175), layer=13, texttype=0))
c_example_config_freepdk45__________.add(gdstk.Label('p_en_bar', (1.8775,1.8575), layer=11, texttype=0))
c_example_config_freepdk45__________.add(gdstk.Label('s_en', (1.8775,2.5), layer=11, texttype=0))
c_example_config_freepdk45__________.add(gdstk.Label('w_en', (1.8775,12.74), layer=11, texttype=0))
c_example_config_freepdk45__________.add(gdstk.Label('vdd', (1.945,4.5575), layer=15, texttype=0))
c_example_config_freepdk45__________.add(gdstk.Label('vdd', (1.945,0.66), layer=15, texttype=0))
c_example_config_freepdk45__________.add(gdstk.Label('vdd', (1.945,12.61), layer=15, texttype=0))
c_example_config_freepdk45__________.add(gdstk.Label('gnd', (1.945,8.22), layer=15, texttype=0))
c_example_config_freepdk45__________.add(gdstk.Label('gnd', (1.945,10.56), layer=15, texttype=0))
c_example_config_freepdk45__________.add(gdstk.Label('gnd', (1.9625,2.665), layer=15, texttype=0))

lib.write_gds('example_config_freepdk45_port_data.gds')
